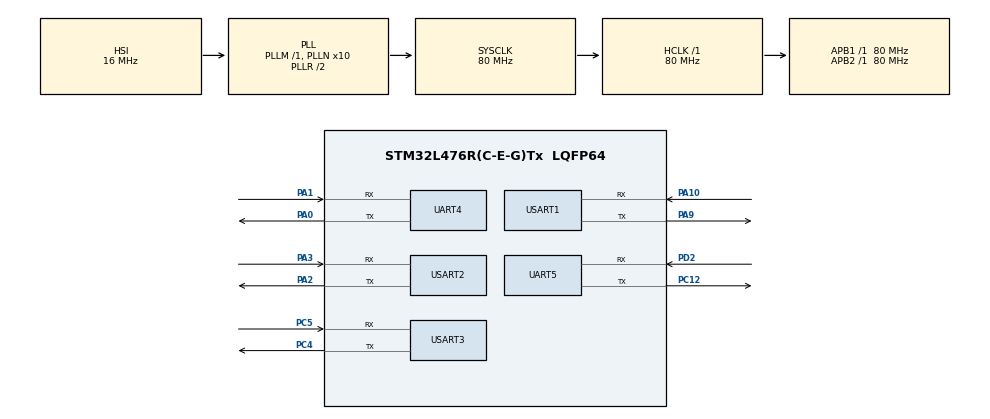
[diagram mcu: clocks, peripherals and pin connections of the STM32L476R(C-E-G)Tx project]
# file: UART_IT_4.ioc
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Mcu.Family=STM32L4
Mcu.Name=STM32L476R(C-E-G)Tx
Mcu.Package=LQFP64
NVIC.PriorityGroup=NVIC_PRIORITYGROUP_4
NVIC.UART4_IRQn=true\:0\:0\:false\:false\:true\:true\:true\:true
NVIC.UART5_IRQn=true\:0\:0\:false\:false\:true\:true\:true\:true
NVIC.USART1_IRQn=true\:0\:0\:false\:false\:true\:true\:true\:true
PA0.Mode=Asynchronous
PA0.Signal=UART4_TX
PA1.Mode=Asynchronous
PA1.Signal=UART4_RX
PA10.Mode=Asynchronous
PA10.Signal=USART1_RX
PA13\ (JTMS-SWDIO).Mode=Serial_Wire
PA13\ (JTMS-SWDIO).Signal=SYS_JTMS-SWDIO
PA14\ (JTCK-SWCLK).Mode=Serial_Wire
PA14\ (JTCK-SWCLK).Signal=SYS_JTCK-SWCLK
PA2.Mode=Asynchronous
PA2.Signal=USART2_TX
PA3.Mode=Asynchronous
PA3.Signal=USART2_RX
PA9.Mode=Asynchronous
PA9.Signal=USART1_TX
PC12.Mode=Asynchronous
PC12.Signal=UART5_TX
PC4.Mode=Asynchronous
PC4.Signal=USART3_TX
PC5.Mode=Asynchronous
PC5.Signal=USART3_RX
PD2.Mode=Asynchronous
PD2.Signal=UART5_RX
PH0-OSC_IN\ (PH0).Mode=HSE-External-Oscillator
PH0-OSC_IN\ (PH0).Signal=RCC_OSC_IN
PH1-OSC_OUT\ (PH1).Mode=HSE-External-Oscillator
PH1-OSC_OUT\ (PH1).Signal=RCC_OSC_OUT
ProjectManager.HeapSize=0x200
ProjectManager.StackSize=0x400
ProjectManager.TargetToolchain=STM32CubeIDE
RCC.ADCFreq_Value=64000000
RCC.AHBFreq_Value=80000000
RCC.APB1Freq_Value=80000000
RCC.APB1TimFreq_Value=80000000
RCC.APB2Freq_Value=80000000
RCC.APB2TimFreq_Value=80000000
RCC.CortexFreq_Value=80000000
RCC.HCLKFreq_Value=80000000
RCC.HSE_VALUE=8000000
RCC.HSI_VALUE=16000000
RCC.LSE_VALUE=32768
RCC.MSI_VALUE=4000000
RCC.PLLN=10
RCC.PLLSourceVirtual=RCC_PLLSOURCE_HSI
RCC.PREFETCH_ENABLE=1
RCC.SYSCLKFreq_VALUE=80000000
RCC.SYSCLKSource=RCC_SYSCLKSOURCE_PLLCLK
RCC.USBFreq_Value=64000000
RCC.VCOOutputFreq_Value=160000000
USART1.VirtualMode-Asynchronous=VM_ASYNC
USART2.VirtualMode-Asynchronous=VM_ASYNC
USART3.VirtualMode-Asynchronous=VM_ASYNC
board=NUCLEO-L476RG

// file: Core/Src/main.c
/* USER CODE BEGIN Header */
/**
  ******************************************************************************
  * @file           : main.c
  * @brief          : Main program body
  ******************************************************************************
  * @attention
  *
  * Copyright (c) 2024 STMicroelectronics.
  * All rights reserved.
  *
  * This software is licensed under terms that can be found in the LICENSE file
  * in the root directory of this software component.
  * If no LICENSE file comes with this software, it is provided AS-IS.
  *
  ******************************************************************************
  */
/* USER CODE END Header */
#include "main.h"

/* USER CODE BEGIN Includes */
#include <string.h>
#include <stdio.h>
#include <stdlib.h>

#define RXSIZE 200
uint8_t RxBuf[RXSIZE];
char *Rx_string;
char *str;
int GSM_SIM_INIT(void);
int DATA_SEND_READY(void);
int GSM_TCP_init(void);
int GSM_APN_SET(void);
int GSM_Send_Data(uint8_t * data);

typedef struct gpsdata
{
	double time;
	//char time[8];
	float latitude;
	float longitude;
	double Knots;
	char Date[9];
	char N_OR_S;
	char E_OR_W;
	int fix;
	char Data[750];
	char buffer[100];
	char particular_flag_data[100];
}gpsdata;
uint8_t flag = 0;

#define Min_To_Degree  0.01666666667
#define Sec_To_Degree	 0.000277777778
char rx_data[60],json_str[100],*ptr;
int Flag=0;
gpsdata gps;
void gpsData(gpsdata* data);
static void gps_data_extraction(gpsdata* data);

int _write(int file,char *ptr,int len)

{

    int i=0;

    for(i=0;i<len;i++)

      ITM_SendChar((*ptr++));

    return len;

}

/* USER CODE END Includes */

UART_HandleTypeDef huart4;
UART_HandleTypeDef huart5;
UART_HandleTypeDef huart1;
UART_HandleTypeDef huart2;
UART_HandleTypeDef huart3;

/* USER CODE BEGIN PV */

//char Rx_Buffer[200];
//char Tx_Buffer[200];
//char *str;

/* USER CODE END PV */

void SystemClock_Config(void);
static void MX_GPIO_Init(void);
static void MX_USART2_UART_Init(void);
static void MX_UART4_Init(void);
static void MX_USART3_UART_Init(void);
static void MX_UART5_Init(void);
static void MX_USART1_UART_Init(void);

/* USER CODE BEGIN 0 */
void HAL_UART_TxCpltCallback(UART_HandleTypeDef *huart)
{
	/* NO OPENARTAION  */
}

int DATA_SEND_READY(void)
{
	int ret;
	int ret1;
	 ret= GSM_SIM_INIT();
	  	 printf("Hello \n");
	  	 if (ret==0)
	  	 {
	  		 printf("init worked\n");
	  	 }
	  	 else
	  	 {
	  			 printf("init NOT worked\n");
	  	}
	  	 ret = GSM_APN_SET();
	  	 if (ret==0)
	  		 {
	  			 printf("APN SET worked\n");
	  			ret1= GSM_TCP_init();
	  		 }
	  		 else
	  		 {
	  				 printf("APN SET NOT worked\n");
	  		}
	  	 if (ret1==0)
	  	 	 {
	  	 		 printf("tcp worked\n");
	  	 		 return 0;

	  	 	 }
	  	 	 else
	  	 	 {
	  	 			 printf("tcp NOT worked\n");
	  	 			 return 1;
	  	 	}
}
char* GSM_Send_AT_Command(char* AT_CMD)
{
	memset(RxBuf,0,200);
	printf("sent command %s\n",AT_CMD);
	HAL_UART_Transmit_IT(&huart4,(uint8_t*)AT_CMD, strlen(AT_CMD));
	HAL_UART_Receive(&huart4, RxBuf, 200,2000);
	printf("Received data %s\n",RxBuf);
	return (char *)RxBuf;

}
int GSM_TCP_init(void)
{
	int state =0,substate=0;
	while(1)
	{
		switch(state)
		{
			case 0:

					switch(substate)
					{
						case 0:
							str=GSM_Send_AT_Command("AT+CIPMODE?\r");
							if(strstr(str,"+CIPMODE: 0"))
							{

								state=1;
								substate=0;
							}
							else
							{
								substate=1;
							}
							break;
						case 1:
							str=GSM_Send_AT_Command("AT+CIPMODE=0\r");
							if(strstr(str,"OK"))
							{
								state=1;
								substate=0;
							}
							else
							{
								substate=0;
							}
							break;
					}
					break;

			case 1:

					switch(substate)
					{
						case 0:
							str=GSM_Send_AT_Command("AT+NETOPEN\r");
							if(strstr(str,"NETOPEN"))
							{
								state=2;
								substate=0;
							}
							else
							{
								substate=1;
							}
							break;
						case 1:
							str=GSM_Send_AT_Command("AT+NETOPEN\r");
							if(strstr(str,"opened"))
							{
									state=2;
									substate=0;
							}
							else
							{
									substate=0;
							}
					}
					break;

			case 2:
					return 0;
					break;
			default:
					return 1;
		}
	}
}

int GSM_APN_SET(void)
{

uint8_t state=0;
uint8_t substate=0;

 while (1)
  {
    /* USER CODE END WHILE */
	  switch(state)
	 	  {
	 	case 0:
	 		  switch(substate)
	   		  {
	   		  case 0:
	   			  Rx_string = GSM_Send_AT_Command("AT+COPS?\r");
	   			  if(strstr(Rx_string,"40449"))
	   			  {
	   				 state=1;
	   				printf("match found\n");
	   			  }
	   			  else
	   			  {
	   				  substate=1;
	   			  }
	   			  break;
	   		  case 1:
	   			  if(strstr(Rx_string,"405854"))
	   			  {
	   				  state=2;
	   				  substate=0;
	   			  	  printf("match found\n");
	   			  }
	   			  else
	   			  {
	   			  	  substate=0;
	   			  }
	   			  break;
			  case 2:
				  if(strstr(Rx_string,"ERROR"))
	   			  {
	   				  state=0;
	   			  	  substate=0;
	   			  }
	   			  else
	   			  {
	   			  	  state=0;
	   			  	  substate=0;
	   			  }
	   			  break;

	   		  default:
	   			  break;
	   		  }
	 		  break;
	 	case 1:
	 		  switch(substate)
	   		  {
	   		  case 0:
	   			  Rx_string = GSM_Send_AT_Command("AT+CGDCONT=1,\"IP\",\"airtelgprs.com\"\r");
	   			  if(strstr(Rx_string,"OK"))
	   			  {
	   				 state=2;
	   				 substate=0;
	   				printf("match found\n");
	   				return 0;
	   			  }
	   			  else
	   			  {
	   				  substate=1;
	   			  }
	   			  break;
	   		  case 1:
	   			  if(!(strncmp(Rx_string,"\r\nERROR\r\n",6)))
	   			  {
	   				  state=0;
	   			  	  substate=0;
	   			  }
	   			  else
	   			  {
	   			  	  state=0;
	   			  	  substate=0;
	   			  }
	   			  break;
	   		  default:
	   			  break;
	   		  }
	 		  break;
	 	case 2:
	 		  switch(substate)
	   		  {
	   		  case 0:
	   			  Rx_string = GSM_Send_AT_Command("AT+CGDCONT=1,\"IP\",\"jionet\"\r");
	   			  if(strstr(Rx_string,"OK"))
	   			  {
	   				 state=3;
	   				 substate=0;
	   				printf("match found\n");
					return 0;
	   			  }
	   			  else
	   			  {
	   				  substate=1;
	   			  }
	   			  break;
	   		  case 1:
			          if(!(strncmp(Rx_string,"\r\nERROR\r\n",6)))
	   			  {
	   			  	  substate=0;
	   			  	  state=2;
	   			  }
	   			  else
	   			  {
	   				  substate=0;
	   			  	  state=0;
	   			  }
	   			  break;
	   		  default:
	   			  break;
	   		  }
	 		  break;
	}
}
}
int GSM_SIM_INIT(void)
{

uint8_t state=0;
uint8_t substate=0;

 while (1)
  {
    /* USER CODE END WHILE */
	  switch(state)
	 	  {
	 	case 0:
	 		  switch(substate)
	   		  {
	   		  case 0:
	   			  Rx_string = GSM_Send_AT_Command("ATE0\r");
	   			  if(!(strncmp(Rx_string,"\r\nOK\r\n",6)))
	   			  {
	   				 state=1;
	   				printf("match found\n");
	   			  }
	   			  else
	   			  {
	   				  substate=1;
	   			  }
	   			  break;
	   		  case 1:
	   			  if(!(strncmp(Rx_string,"\r\nERROR\r\n",6)))
	   			  {
	   				  state=0;
	   			  	  substate=0;
	   			  }
	   			  else
	   			  {
	   			  	  state=0;
	   			  	  substate=0;
	   			  }
	   			  break;
	   		  default:
	   			  break;
	   		  }
	 		  break;
	 	case 1:
	 		  switch(substate)
	   		  {
	   		  case 0:
	   			  Rx_string = GSM_Send_AT_Command("AT+CPIN?\r");
	   			  if(strstr(Rx_string,"READY"))
	   			  {
	   				 state=2;
	   				 substate=0;
	   				printf("match found\n");
	   			  }
	   			  else
	   			  {
	   				  substate=1;
	   			  }
	   			  break;
	   		  case 1:
	   			  if(!(strncmp(Rx_string,"\r\nERROR\r\n",6)))
	   			  {
	   				  state=0;
	   			  	  substate=0;
	   			  }
	   			  else
	   			  {
	   			  	  state=0;
	   			  	  substate=0;
	   			  }
	   			  break;
	   		  default:
	   			  break;
	   		  }
	 		  break;
	 	case 2:
	 		  switch(substate)
	   		  {
	   		  case 0:
	   			  Rx_string = GSM_Send_AT_Command("AT+CSQ\r");
	   			  if(strstr(Rx_string,"99")&& (Rx_string[5]>='2'))
	   			  {
	   				 state=3;
	   				 substate=0;
	   				printf("match found\n");
	   			  }
	   			  else
	   			  {
	   				  substate=1;
	   			  }
	   			  break;
	   		  case 1:
			          Rx_string = GSM_Send_AT_Command("AT+CFUN=1\r");
	   			  if(strstr(Rx_string,"0,1"))
	   			  {
	   			  	  substate=0;
	   			  	  state=2;
	   			  }
	   			  else
	   			  {
	   				  substate=0;
	   			  	  state=0;
	   			  }
	   			  break;
	   		  default:
	   			  break;
	   		  }
	 		  break;
	 case 3:
	 		  switch(substate)
	   		  {
	   		  case 0:
	   			  Rx_string = GSM_Send_AT_Command("AT+CMEE=2\r");
	   			  if(strstr(Rx_string,"OK"))
	   			  {
	   				 state=4;
	   				 substate=0;
	   				printf("match found\n");
	   			  }
	   			  else
	   			  {
	   				  substate=1;
	   			  }
	   			  break;
	   		  case 1:
	   			  if(!(strncmp(Rx_string,"\r\nERROR\r\n",6)))
	   			  {
	   				  state=0;
	   			  	  substate=0;
	   			  }
	   			  else
	   			  {
	   			  	  state=0;
	   			  	  substate=0;
	   			  }
	   			  break;
	   		  default:
	   			  break;
	   		  }
	 		  break;
	 	case 4:
	 		  switch(substate)
	   		  {
	   		  case 0:
	   			  Rx_string = GSM_Send_AT_Command("AT+CREG?\r");
	   			  if((strstr(Rx_string,"0,1"))||(strstr(Rx_string,"0,6")))
	   			  {
	   				 state=5;
	   				 substate=0;
	   				printf("match found\n");
	   			  }
	   			  else
	   			  {
	   				  substate=1;
	   			  }
	   			  break;
	   		  case 1:
	   			  if(!(strncmp(Rx_string,"\r\nERROR\r\n",6)))
	   			  {
	   				  state=0;
	   			  	  substate=0;
	   			  }
	   			  else
	   			  {
	   			  	  state=0;
	   			  	  substate=0;
	   			  }
	   			  break;
	   		  default:
	   			  break;
	   		  }
 			  break;
		case 5:
	 		  switch(substate)
	   		  {
	   		  case 0:
	   			  Rx_string = GSM_Send_AT_Command("AT+CGREG?\r");
	   			  if((strstr(Rx_string,"0,1"))||(strstr(Rx_string,"1,1")))
	   			  {
	   				 state=6;
	   				 substate=0;
	   				printf("match found\n");
	   			  }
	   			  else
	   			  {
	   				  substate=1;
	   			  }
	   			  break;
	   		  case 1:
				  Rx_string = GSM_Send_AT_Command("AT+CGREG=0\r");
	   			  if(strstr(Rx_string,"OK"))
	   			  {
	   				  state=5;
	   			  	  substate=0;
	   			  }
	   			  else
	   			  {
	   			  	  state=0;
	   			  	  substate=0;
	   			  }
	   			  break;
	   		  default:
	   			  break;
	   		  }
 			  break;
		case 6:
	 		  switch(substate)
	   		  {
	   		  case 0:
	   			  Rx_string = GSM_Send_AT_Command("AT+CPSI?\r");
	   			  if((strstr(Rx_string,"LTE,Online")))
	   			  {
	   				 state=0;
	   				 substate=0;
	   				printf("match found\n");
					return 0;
	   			  }
	   			  else
	   			  {
	   				  substate=1;
	   			  }
	   			  break;
	   		 case 1:
	   			  if(GSM_APN_SET()==0)
	   			  {
	   			     substate=0;
	   			  }
	   			  else
	   			  {
	   			   	  state=6;
	   			  }

	   		  default:
	   			  break;
	   		  }
 			  break;

	  default:
	 	 break;
  	}
	}
}

int GSM_Send_Data(uint8_t * data)
{
	int substate=0,cnt=0;
	char z=26;

		while(1)
		{			switch(substate)
					{
						case 0:
							str=GSM_Send_AT_Command("AT+CIPOPEN?\r");
							if(strstr(str,"139.59.78.252"))
							{
									//state=2;
									//substate=0;
									printf("ip OPEN WORKED\n");
									memset(RxBuf,0,200);
									HAL_UART_Transmit_IT(&huart4,(uint8_t*)"AT+CIPSEND=1\r", strlen("AT+CIPSEND=1\r"));
									HAL_UART_Receive(&huart4, (uint8_t *)RxBuf, 200,3000);
									printf("Received data1 %s\n",RxBuf);
									if(strstr(RxBuf,">"))
									{
									memset(RxBuf,0,200);
									//HAL_UART_Transmit_IT(&huart4,(uint8_t*)"$GPGSV,2,1,08,02,74,042,45,04,18,190,36,07,67,279,42,12,29,323,36*77", strlen("$GPGSV,2,1,08,02,74,042,45,04,18,190,36,07,67,279,42,12,29,323,36*77"));
									HAL_UART_Transmit_IT(&huart4,(uint8_t *)data,strlen(data));
									HAL_Delay(2000);
									HAL_UART_Transmit_IT(&huart4,(uint8_t *)&z,1);
									HAL_UART_Receive(&huart4, (uint8_t *)RxBuf, 200,3000);
									printf("Received data1 %s\n",RxBuf);
									memset(RxBuf,0,200);
									return 0;
									}
									else
									{
										substate=0;
									}

							}
							else
							{
								substate=1;
							}
							break;
						    case 1:
						    	str=GSM_Send_AT_Command("AT+CIPOPEN=1,\"TCP\",\"139.59.78.252\",49791\r");
						    	if(strstr(str,"+CIPOPEN: 1,0"))
						    	{
						    		//state=2;
						    		//substate=0;
						    		printf("ip OPEN WORKED\n");
						    		memset(RxBuf,0,200);
						    		HAL_UART_Transmit_IT(&huart4,(uint8_t*)"AT+CIPSEND=1\r", strlen("AT+CIPSEND=1\r"));
						    		HAL_UART_Receive(&huart4, (uint8_t *)RxBuf, 200,3000);
						    		printf("Received data1 %s\n",RxBuf);
						    		if(strstr(RxBuf,">"))
						    		{
						    		memset(RxBuf,0,200);
						    		HAL_UART_Transmit_IT(&huart4,(uint8_t *)data,strlen(data));
						    		HAL_Delay(2000);
						    		//HAL_UART_Transmit_IT(&huart4,(uint8_t*)"$GPGSV,2,1,08,02,74,042,45,04,18,190,36,07,67,279,42,12,29,323,36*77", strlen("$GPGSV,2,1,08,02,74,042,45,04,18,190,36,07,67,279,42,12,29,323,36*77"));
									HAL_UART_Transmit_IT(&huart4,(uint8_t *)&z,1);
									HAL_UART_Receive(&huart4, (uint8_t *)RxBuf, 200,3000);
						    		printf("Received data1 %s\n",RxBuf);
						    		 memset(RxBuf,0,200);
						    		return 0;
						    		}
						    		else
						    		{
						    			substate=1;
						    		}

							}
							else
							{
								substate=0;
								cnt++;
								if(cnt>5)
								{
									substate=2;
								}
							}
							break;
						case 2:
								return 1;  // GSM SEND failed
								break;

					}

		}

}

/* USER CODE END 0 */

int main(void)
{
  /* USER CODE BEGIN 1 */
	int ret=0;

  /* USER CODE END 1 */

  /* MCU Configuration--------------------------------------------------------*/

  /* Reset of all peripherals, Initializes the Flash interface and the Systick. */
  HAL_Init();

  /* Configure the system clock */
  SystemClock_Config();

  /* Initialize all configured peripherals */
  MX_GPIO_Init();
  MX_USART2_UART_Init();
  MX_UART4_Init();
  MX_USART3_UART_Init();
  MX_UART5_Init();
  MX_USART1_UART_Init();
  /* USER CODE BEGIN 2 */
  char *ptr=malloc(100);

  /* USER CODE END 2 */

  /* Infinite loop */
  /* USER CODE BEGIN WHILE */
 // uint8_t d[100];
  while (1)
  {
    /* USER CODE END WHILE */
	  /*HAL_UART_Receive_IT(&huart1, d, 100);
	  HAL_Delay(3000);*/

	 if(DATA_SEND_READY()==0)
	 {

		while( HAL_UART_Receive_IT(&huart1, gps.Data,750)==HAL_OK)
		{
		 if(*gps.Data)
		 {
			 //printf("GPS Recieved %s \n",gps.Data);
			 gpsData(&gps);
			 printf("GPS Recieved %s \n",json_str);

			 if(GSM_Send_Data((uint8_t *)json_str)==0)
			 {
				 printf("Sending Worked to server\n");

			 }
			 else
			 {
				 printf("Sending to server not worked\n");
				 DATA_SEND_READY();
			 }
		 }
		 else
		 {
			 printf("GPS Recieved No DATA\n");
			 //
		 }
	 }
	 }
}
}

void SystemClock_Config(void)
{
  RCC_OscInitTypeDef RCC_OscInitStruct = {0};
  RCC_ClkInitTypeDef RCC_ClkInitStruct = {0};

  /** Configure the main internal regulator output voltage
  */
  if (HAL_PWREx_ControlVoltageScaling(PWR_REGULATOR_VOLTAGE_SCALE1) != HAL_OK)
  {
    Error_Handler();
  }

  /** Initializes the RCC Oscillators according to the specified parameters
  * in the RCC_OscInitTypeDef structure.
  */
  RCC_OscInitStruct.OscillatorType = RCC_OSCILLATORTYPE_HSI;
  RCC_OscInitStruct.HSIState = RCC_HSI_ON;
  RCC_OscInitStruct.HSICalibrationValue = RCC_HSICALIBRATION_DEFAULT;
  RCC_OscInitStruct.PLL.PLLState = RCC_PLL_ON;
  RCC_OscInitStruct.PLL.PLLSource = RCC_PLLSOURCE_HSI;
  RCC_OscInitStruct.PLL.PLLM = 1;
  RCC_OscInitStruct.PLL.PLLN = 10;
  RCC_OscInitStruct.PLL.PLLP = RCC_PLLP_DIV7;
  RCC_OscInitStruct.PLL.PLLQ = RCC_PLLQ_DIV2;
  RCC_OscInitStruct.PLL.PLLR = RCC_PLLR_DIV2;
  if (HAL_RCC_OscConfig(&RCC_OscInitStruct) != HAL_OK)
  {
    Error_Handler();
  }

  /** Initializes the CPU, AHB and APB buses clocks
  */
  RCC_ClkInitStruct.ClockType = RCC_CLOCKTYPE_HCLK|RCC_CLOCKTYPE_SYSCLK
                              |RCC_CLOCKTYPE_PCLK1|RCC_CLOCKTYPE_PCLK2;
  RCC_ClkInitStruct.SYSCLKSource = RCC_SYSCLKSOURCE_PLLCLK;
  RCC_ClkInitStruct.AHBCLKDivider = RCC_SYSCLK_DIV1;
  RCC_ClkInitStruct.APB1CLKDivider = RCC_HCLK_DIV1;
  RCC_ClkInitStruct.APB2CLKDivider = RCC_HCLK_DIV1;

  if (HAL_RCC_ClockConfig(&RCC_ClkInitStruct, FLASH_LATENCY_4) != HAL_OK)
  {
    Error_Handler();
  }
}

static void MX_UART4_Init(void)
{

  huart4.Instance = UART4;
  huart4.Init.BaudRate = 115200;
  huart4.Init.WordLength = UART_WORDLENGTH_8B;
  huart4.Init.StopBits = UART_STOPBITS_1;
  huart4.Init.Parity = UART_PARITY_NONE;
  huart4.Init.Mode = UART_MODE_TX_RX;
  huart4.Init.HwFlowCtl = UART_HWCONTROL_NONE;
  huart4.Init.OverSampling = UART_OVERSAMPLING_16;
  huart4.Init.OneBitSampling = UART_ONE_BIT_SAMPLE_DISABLE;
  huart4.AdvancedInit.AdvFeatureInit = UART_ADVFEATURE_NO_INIT;
  if (HAL_UART_Init(&huart4) != HAL_OK)
  {
    Error_Handler();
  }

}

static void MX_UART5_Init(void)
{

  huart5.Instance = UART5;
  huart5.Init.BaudRate = 9600;
  huart5.Init.WordLength = UART_WORDLENGTH_8B;
  huart5.Init.StopBits = UART_STOPBITS_1;
  huart5.Init.Parity = UART_PARITY_NONE;
  huart5.Init.Mode = UART_MODE_TX_RX;
  huart5.Init.HwFlowCtl = UART_HWCONTROL_NONE;
  huart5.Init.OverSampling = UART_OVERSAMPLING_16;
  huart5.Init.OneBitSampling = UART_ONE_BIT_SAMPLE_DISABLE;
  huart5.AdvancedInit.AdvFeatureInit = UART_ADVFEATURE_NO_INIT;
  if (HAL_UART_Init(&huart5) != HAL_OK)
  {
    Error_Handler();
  }

}

static void MX_USART1_UART_Init(void)
{

  huart1.Instance = USART1;
  huart1.Init.BaudRate = 9600;
  huart1.Init.WordLength = UART_WORDLENGTH_8B;
  huart1.Init.StopBits = UART_STOPBITS_1;
  huart1.Init.Parity = UART_PARITY_NONE;
  huart1.Init.Mode = UART_MODE_TX_RX;
  huart1.Init.HwFlowCtl = UART_HWCONTROL_NONE;
  huart1.Init.OverSampling = UART_OVERSAMPLING_16;
  huart1.Init.OneBitSampling = UART_ONE_BIT_SAMPLE_DISABLE;
  huart1.AdvancedInit.AdvFeatureInit = UART_ADVFEATURE_NO_INIT;
  if (HAL_UART_Init(&huart1) != HAL_OK)
  {
    Error_Handler();
  }

}

static void MX_USART2_UART_Init(void)
{

  huart2.Instance = USART2;
  huart2.Init.BaudRate = 115200;
  huart2.Init.WordLength = UART_WORDLENGTH_8B;
  huart2.Init.StopBits = UART_STOPBITS_1;
  huart2.Init.Parity = UART_PARITY_NONE;
  huart2.Init.Mode = UART_MODE_TX_RX;
  huart2.Init.HwFlowCtl = UART_HWCONTROL_NONE;
  huart2.Init.OverSampling = UART_OVERSAMPLING_16;
  huart2.Init.OneBitSampling = UART_ONE_BIT_SAMPLE_DISABLE;
  huart2.AdvancedInit.AdvFeatureInit = UART_ADVFEATURE_NO_INIT;
  if (HAL_UART_Init(&huart2) != HAL_OK)
  {
    Error_Handler();
  }

}

static void MX_USART3_UART_Init(void)
{

  huart3.Instance = USART3;
  huart3.Init.BaudRate = 115200;
  huart3.Init.WordLength = UART_WORDLENGTH_8B;
  huart3.Init.StopBits = UART_STOPBITS_1;
  huart3.Init.Parity = UART_PARITY_NONE;
  huart3.Init.Mode = UART_MODE_TX_RX;
  huart3.Init.HwFlowCtl = UART_HWCONTROL_NONE;
  huart3.Init.OverSampling = UART_OVERSAMPLING_16;
  huart3.Init.OneBitSampling = UART_ONE_BIT_SAMPLE_DISABLE;
  huart3.AdvancedInit.AdvFeatureInit = UART_ADVFEATURE_NO_INIT;
  if (HAL_UART_Init(&huart3) != HAL_OK)
  {
    Error_Handler();
  }

}

static void MX_GPIO_Init(void)
{

  /* GPIO Ports Clock Enable */
  __HAL_RCC_GPIOH_CLK_ENABLE();
  __HAL_RCC_GPIOA_CLK_ENABLE();
  __HAL_RCC_GPIOC_CLK_ENABLE();
  __HAL_RCC_GPIOD_CLK_ENABLE();

}

/* USER CODE BEGIN 4 */
void gpsData(gpsdata* data)
{
	char *current_flag;
	int counter;
	int comma = 0;
	printf("in func\n");
			//HAL_UART_Receive(&GpsData->UartPort,(uint8_t*)GpsData->Data,700,HAL_MAX_DELAY);
	current_flag=strstr(data->Data,"GNGGA");
	//printf("string found\n");
	if(*current_flag=='G')
	{
	   counter=0;
	   while(*(current_flag+counter)!='*')
	   {
		   data->particular_flag_data[counter]=*(current_flag+counter);
		   counter++;
	   }
	    printf(" string is %s", data->particular_flag_data);
		sprintf(data->buffer,"%s",data->particular_flag_data);
		sscanf(data->buffer,"GNGGA,%lf,%f,%c,%f,%c,%d,",&data->time,&data->latitude,&data->N_OR_S,&data->longitude,&data->E_OR_W,&data->fix);
        printf("lat:%f\n",data->latitude);
        printf("lon:%f\n",data->longitude);

		current_flag=strstr(data->Data,"RMC");
			//printf("string found\n");
			if(*current_flag=='R')
			{
				printf("\nrmc ->%s\n",*current_flag);
				counter=0;

				while(comma < 9) {
					if(*(current_flag + counter) == ',')
						comma++;
					counter++;
					if(comma == 9)
						break;

				}

				for(int i=counter; i < counter+7; i++)
					data->Date[i-counter]= *(current_flag+i);

//					   while((*(current_flag+n)!='*') && (comma < 9) )
//					   {
//						   n++;
//
//						   if(*(current_flag+n) != ',')
//							   comma++;
//					   }
//
//					   for(int  i = 0 ; i < 9 ; i++ ,n++)
//					   {
//						   if(i== 8)
//						   {
//							   data->Date[i]= '\0';
//						   }
//						   else if((i != 2) && (i != 4) )
//						   {
//							   data->Date[i]= *(current_flag+n);
//						   }
//						   else
//						   {
//							   data->Date[i]= '/';
//						   }
//
//					   }

			}

		if(data->fix==1||data->fix==2||data->fix==6)
		{
			printf("valid fix\n");
			gps_data_extraction(data);
		}
		else
		{
			printf("invalid signal no fix\n");
		}
	 }
	else
	{
		printf("no data\n");
	}
}

static void gps_data_extraction(gpsdata* data)
{
	double Deg_Val=0.0,Min_Val=0.0,Sec_Val=0.0,lon=0.0,lat=0.0;
	int hr,min,sec;
	//int hours, minutes, seconds;

	lon=data->longitude;
	lat=data->latitude;
	if((data->E_OR_W=='E' && data->N_OR_S=='S')||(data->E_OR_W=='W' && data->N_OR_S=='N'))
	{
		Deg_Val=(int)(lon/100);
		Min_Val=(int)(lon-(Deg_Val*100));
		Sec_Val=((lon-(Deg_Val*100))-Min_Val)*100;
		data->longitude=(Deg_Val+(Min_Val*Min_To_Degree)+(Sec_Val*Sec_To_Degree))*-1;
		printf("longitude : %f\n",data->longitude);

		Deg_Val=(int)((lat/100));
		Min_Val=(int)(lat-(Deg_Val*100));
		Sec_Val=((lat-(Deg_Val*100))-Min_Val)*10;
		data->latitude=(Deg_Val+(Min_Val*Min_To_Degree)+(Sec_Val*Sec_To_Degree));
		printf("latitude : %f\n",data->latitude);
	}
    hr=(int)((data->time)/10000);
   	min=(int)(data->time-(hr*10000))/100;
   	sec=(int)(data->time-((hr*10000)+(min*100)));
   	int ist_hr = hr + 5;  // 5 hours difference
   	int ist_min = min + 30;  // 30 minutes difference
    if(ist_hr>=24)
    {
    	ist_hr-=24;
    }
   	// Adjusting for overflow
   	if (ist_min >= 60) {
   	    ist_hr++;
   	    ist_min -= 60;
   	}

	    //sscanf(data->time, "%2d%2d%2d", &hours, &minutes, &seconds);
//	    // Convert to IST
//	    hours += 5;
//	    minutes += 30;
//
//	        // Adjust for overflow
//	    if (minutes >= 60) {
//	         minutes -= 60;
//	         hours++;
//	     }
//
//	        // Adjust for 24-hour clock format
//	     if (hours >= 24) {
//	         hours -= 24;
//	     }
//
//	        // Format and store in gpsData
//	     sprintf(data->time, "%02d:%02d:%02d", hours, minutes, seconds);
			//sprintf(json_str,"{\"latitude\":%f %c,\n \"longitude\":%f %c,\n \"time\":%s,\nData = %s\n }",data->latitude,data->N_OR_S, data->longitude,data->E_OR_W,data->time,data->Date);

		sprintf(json_str,"{\"latitude\":%f %c,\n \"longitude\":%f %c,\n \"time\":%d:%d:%d\nData = %s\n }",data->latitude,data->N_OR_S, data->longitude,data->E_OR_W,hr,min,sec,data->Date);
	     //sprintf(json_str,"{\"latitude\":%f %c,\n \"longitude\":%f %c,\n \"time\":\"%s\" \nData = %s\n }",data->latitude,data->N_OR_S, data->longitude,data->E_OR_W,data->time,data->Date);
	     printf("json format is %s\n",json_str);

}

/* USER CODE END 4 */

void Error_Handler(void)
{
  __disable_irq();
  while (1)
  {
  }
}
